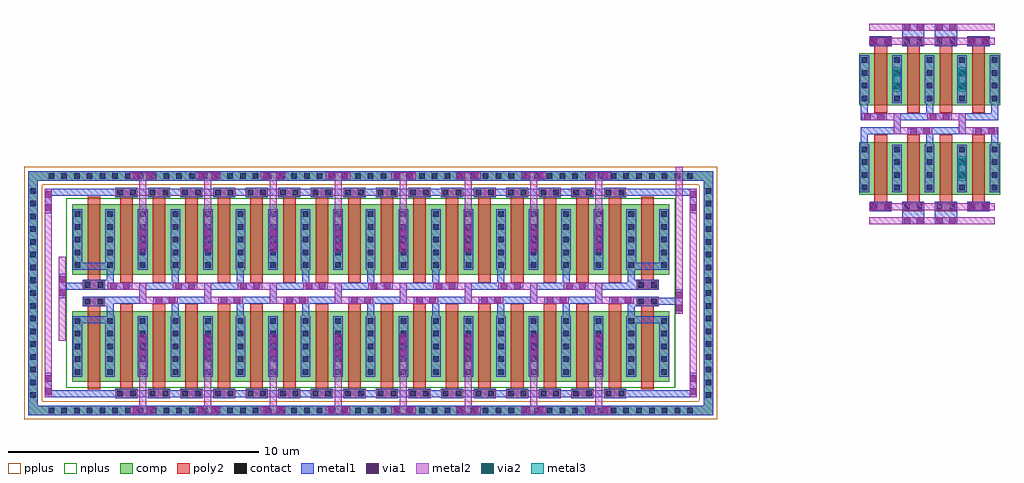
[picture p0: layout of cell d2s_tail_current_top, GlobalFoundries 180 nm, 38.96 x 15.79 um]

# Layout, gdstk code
from math import pi, radians
import gdstk
lib = gdstk.Library(unit=1e-6, precision=5e-09)
def R(c, l, rs):  # rectangles x0, y0, x1, y1
    for r in rs: c.add(gdstk.rectangle(r[:2], r[2:], *l))
def A(c, l, x, y, w, h, nx, ny, dx, dy):  # array of equal rectangles
    R(c, l, [(x+i*dx, y+j*dy, x+i*dx+w, y+j*dy+h) for i in range(nx) for j in range(ny)])
comp = (22, 0)
poly2 = (30, 0)
pplus = (31, 0)
nplus = (32, 0)
contact = (33, 0)
metal1 = (34, 0)
via1 = (35, 0)
metal2 = (36, 0)
via2 = (38, 0)
metal3 = (42, 0)

d2s_tail_current_ncell_1 = lib.new_cell('d2s_tail_current_ncell_1$1$1')
R(d2s_tail_current_ncell_1, comp, [(0,0.3,0.42,3.12), (0.42,0.3,1.3,3.12), (1.3,0.3,1.72,3.12)])
R(d2s_tail_current_ncell_1, poly2, [(0.61,0,1.11,3.42)])
A(d2s_tail_current_ncell_1, contact, 0.1, 0.58, 0.22, 0.22, 1, 5, 0, 0.51)
A(d2s_tail_current_ncell_1, contact, 1.4, 0.58, 0.22, 0.22, 1, 5, 0, 0.51)
R(d2s_tail_current_ncell_1, metal1, [(0.02,0.5,0.4,2.92), (1.32,0.5,1.7,2.92)])

d2s_tail_current_ncell_4 = lib.new_cell('d2s_tail_current_ncell_4$1')
A(d2s_tail_current_ncell_4, poly2, 0.425, 3.42, 0.87, 0.36, 4, 1, 1.3, 0)
R(d2s_tail_current_ncell_4, contact, [(0.495,3.49,0.715,3.71), (1.005,3.49,1.225,3.71), (1.795,3.49,2.015,3.71), (2.305,3.49,2.525,3.71), (3.095,3.49,3.315,3.71), (3.605,3.49,3.825,3.71), (4.395,3.49,4.615,3.71), (4.905,3.49,5.125,3.71)])
A(d2s_tail_current_ncell_4, metal1, 0.415, 3.41, 0.89, 0.38, 4, 1, 1.3, 0)
d2s_tail_current_ncell_4.add(gdstk.Reference(d2s_tail_current_ncell_1, (0,0)))
d2s_tail_current_ncell_4.add(gdstk.Reference(d2s_tail_current_ncell_1, (1.3,0)))
d2s_tail_current_ncell_4.add(gdstk.Reference(d2s_tail_current_ncell_1, (2.6,0)))
d2s_tail_current_ncell_4.add(gdstk.Reference(d2s_tail_current_ncell_1, (3.9,0)))

c_d2s_tail_current_ncell_4 = lib.new_cell('d2s_tail_current_ncell_4_4')
R(c_d2s_tail_current_ncell_4, via1, [(1.12,0.23,1.38,0.49), (1.64,0.23,1.9,0.49), (3.72,0.23,3.98,0.49), (4.24,0.23,4.5,0.49), (1.38,2.52,1.64,2.78), (3.98,2.52,4.24,2.78), (1.38,3.04,1.64,3.3), (3.98,3.04,4.24,3.3), (2.03,4.63,2.29,4.89), (2.55,4.63,2.81,4.89), (4.63,4.63,4.89,4.89), (5.15,4.63,5.41,4.89), (0.21,5.19,0.47,5.45), (0.73,5.19,0.99,5.45), (2.81,5.19,3.07,5.45), (3.33,5.19,3.59,5.45), (1.38,6.78,1.64,7.04), (3.98,6.78,4.24,7.04), (1.38,7.3,1.64,7.56), (3.98,7.3,4.24,7.56), (1.12,9.59,1.38,9.85), (1.64,9.59,1.9,9.85), (3.72,9.59,3.98,9.85), (4.24,9.59,4.5,9.85)])
c_d2s_tail_current_ncell_4.add(gdstk.FlexPath([(1.305,1.02),(5.41,1.02)], 0.28, ends="flush", simple_path=True, layer=34, datatype=0))  # metal1
c_d2s_tail_current_ncell_4.add(gdstk.FlexPath([(2.81,5.96),(2.81,5.46)], 0.28, ends="flush", simple_path=True, layer=34, datatype=0))  # metal1
c_d2s_tail_current_ncell_4.add(gdstk.FlexPath([(0.21,9.72),(5.41,9.72)], 0.38, ends="flush", simple_path=True, layer=34, datatype=0))  # metal1
c_d2s_tail_current_ncell_4.add(gdstk.FlexPath([(2.81,4.12),(2.81,4.62)], 0.28, ends="flush", simple_path=True, layer=34, datatype=0))  # metal1
c_d2s_tail_current_ncell_4.add(gdstk.FlexPath([(0.21,4.12),(0.21,4.62)], 0.28, ends="flush", simple_path=True, layer=34, datatype=0))  # metal1
c_d2s_tail_current_ncell_4.add(gdstk.FlexPath([(0.21,5.96),(0.21,5.46)], 0.28, ends="flush", simple_path=True, layer=34, datatype=0))  # metal1
c_d2s_tail_current_ncell_4.add(gdstk.FlexPath([(2.91,5.32),(1.51,5.32),(1.51,4.76),(0.07,4.76)], 0.28, ends="flush", simple_path=True, layer=34, datatype=0))  # metal1
c_d2s_tail_current_ncell_4.add(gdstk.FlexPath([(1.09,5.32),(0.07,5.32)], 0.28, ends="flush", simple_path=True, layer=34, datatype=0))  # metal1
c_d2s_tail_current_ncell_4.add(gdstk.FlexPath([(5.41,4.12),(5.41,4.62)], 0.28, ends="flush", simple_path=True, layer=34, datatype=0))  # metal1
c_d2s_tail_current_ncell_4.add(gdstk.FlexPath([(5.55,5.32),(4.11,5.32),(4.11,4.76),(2.71,4.76)], 0.28, ends="flush", simple_path=True, layer=34, datatype=0))  # metal1
c_d2s_tail_current_ncell_4.add(gdstk.FlexPath([(3.69,5.32),(2.71,5.32)], 0.28, ends="flush", simple_path=True, layer=34, datatype=0))  # metal1
c_d2s_tail_current_ncell_4.add(gdstk.FlexPath([(5.41,5.96),(5.41,5.46)], 0.28, ends="flush", simple_path=True, layer=34, datatype=0))  # metal1
c_d2s_tail_current_ncell_4.add(gdstk.FlexPath([(2.81,4.12),(2.81,4.62)], 0.28, ends="flush", simple_path=True, layer=34, datatype=0))  # metal1
c_d2s_tail_current_ncell_4.add(gdstk.FlexPath([(5.55,4.76),(4.53,4.76)], 0.28, ends="flush", simple_path=True, layer=34, datatype=0))  # metal1
c_d2s_tail_current_ncell_4.add(gdstk.FlexPath([(2.81,5.96),(2.81,5.46)], 0.28, ends="flush", simple_path=True, layer=34, datatype=0))  # metal1
c_d2s_tail_current_ncell_4.add(gdstk.FlexPath([(2.91,4.76),(1.93,4.76)], 0.28, ends="flush", simple_path=True, layer=34, datatype=0))  # metal1
c_d2s_tail_current_ncell_4.add(gdstk.FlexPath([(1.305,9.06),(5.41,9.06)], 0.28, ends="flush", simple_path=True, layer=34, datatype=0))  # metal1
c_d2s_tail_current_ncell_4.add(gdstk.FlexPath([(0.21,0.36),(5.41,0.36)], 0.38, ends="flush", simple_path=True, layer=34, datatype=0))  # metal1
c_d2s_tail_current_ncell_4.add(gdstk.FlexPath([(0.21,9.72),(5.41,9.72)], 0.38, ends="flush", simple_path=True, layer=22, datatype=0))  # comp
c_d2s_tail_current_ncell_4.add(gdstk.FlexPath([(0.21,0.36),(5.41,0.36)], 0.38, ends="flush", simple_path=True, layer=22, datatype=0))  # comp
c_d2s_tail_current_ncell_4.add(gdstk.FlexPath([(2.91,4.76),(1.51,4.76),(1.51,5.32),(0.11,5.32)], 0.28, ends="flush", simple_path=True, layer=36, datatype=0))  # metal2
c_d2s_tail_current_ncell_4.add(gdstk.FlexPath([(5.51,4.76),(4.11,4.76),(4.11,5.32),(2.71,5.32)], 0.28, ends="flush", simple_path=True, layer=36, datatype=0))  # metal2
c_d2s_tail_current_ncell_4.add(gdstk.FlexPath([(4.11,6.68),(4.11,7.66)], 0.28, ends="flush", simple_path=True, layer=36, datatype=0))  # metal2
c_d2s_tail_current_ncell_4.add(gdstk.FlexPath([(1.51,6.68),(1.51,7.66)], 0.28, ends="flush", simple_path=True, layer=36, datatype=0))  # metal2
c_d2s_tail_current_ncell_4.add(gdstk.FlexPath([(4.11,2.42),(4.11,3.4)], 0.28, ends="flush", simple_path=True, layer=36, datatype=0))  # metal2
c_d2s_tail_current_ncell_4.add(gdstk.FlexPath([(1.51,2.42),(1.51,3.4)], 0.28, ends="flush", simple_path=True, layer=36, datatype=0))  # metal2
c_d2s_tail_current_ncell_4.add(gdstk.FlexPath([(1.02,9.72),(2,9.72)], 0.28, ends="flush", simple_path=True, layer=36, datatype=0))  # metal2
c_d2s_tail_current_ncell_4.add(gdstk.FlexPath([(1.51,7.66),(1.51,9.58)], 0.28, ends="flush", simple_path=True, layer=36, datatype=0))  # metal2
c_d2s_tail_current_ncell_4.add(gdstk.FlexPath([(4.11,7.66),(4.11,9.58)], 0.28, ends="flush", simple_path=True, layer=36, datatype=0))  # metal2
c_d2s_tail_current_ncell_4.add(gdstk.FlexPath([(3.62,9.72),(4.6,9.72)], 0.28, ends="flush", simple_path=True, layer=36, datatype=0))  # metal2
c_d2s_tail_current_ncell_4.add(gdstk.FlexPath([(1.02,0.36),(2,0.36)], 0.28, ends="flush", simple_path=True, layer=36, datatype=0))  # metal2
c_d2s_tail_current_ncell_4.add(gdstk.FlexPath([(1.51,2.42),(1.51,0.5)], 0.28, ends="flush", simple_path=True, layer=36, datatype=0))  # metal2
c_d2s_tail_current_ncell_4.add(gdstk.FlexPath([(4.11,2.42),(4.11,0.5)], 0.28, ends="flush", simple_path=True, layer=36, datatype=0))  # metal2
c_d2s_tail_current_ncell_4.add(gdstk.FlexPath([(3.62,0.36),(4.6,0.36)], 0.28, ends="flush", simple_path=True, layer=36, datatype=0))  # metal2
c_d2s_tail_current_ncell_4.add(gdstk.FlexPath([(0.21,9.72),(5.41,9.72)], 0.72, ends="flush", simple_path=True, layer=31, datatype=0))  # pplus
c_d2s_tail_current_ncell_4.add(gdstk.FlexPath([(0.21,0.36),(5.41,0.36)], 0.72, ends="flush", simple_path=True, layer=31, datatype=0))  # pplus
c_d2s_tail_current_ncell_4.add(gdstk.Reference(d2s_tail_current_ncell_4, (0,5.46)))
c_d2s_tail_current_ncell_4.add(gdstk.Reference(d2s_tail_current_ncell_4, (0,4.62), x_reflection=True))

c_d2s_tail_current_ncell_1 = lib.new_cell('d2s_tail_current_ncell_1')
R(c_d2s_tail_current_ncell_1, comp, [(0,0.3,0.42,3.12), (0.42,0.3,1.3,3.12), (1.3,0.3,1.72,3.12)])
R(c_d2s_tail_current_ncell_1, poly2, [(0.61,0,1.11,3.42)])
A(c_d2s_tail_current_ncell_1, contact, 0.1, 0.58, 0.22, 0.22, 1, 5, 0, 0.51)
A(c_d2s_tail_current_ncell_1, contact, 1.4, 0.58, 0.22, 0.22, 1, 5, 0, 0.51)
R(c_d2s_tail_current_ncell_1, metal1, [(0.02,0.5,0.4,2.92), (1.32,0.5,1.7,2.92)])

m1_m2 = lib.new_cell('M1_M2')
R(m1_m2, via1, [(0.1,0.01,0.36,0.27), (0.62,0.01,0.88,0.27)])
m1_m2.add(gdstk.FlexPath([(0,0.14),(0.98,0.14)], 0.28, ends="flush", simple_path=True, layer=34, datatype=0))  # metal1
m1_m2.add(gdstk.FlexPath([(0,0.14),(0.98,0.14)], 0.28, ends="flush", simple_path=True, layer=36, datatype=0))  # metal2

delay_stage_ncell_1_1_2 = lib.new_cell('delay_stage_ncell_1$1$2')
R(delay_stage_ncell_1_1_2, comp, [(0,0.3,0.42,2.38), (0.42,0.3,1.3,2.38), (1.3,0.3,1.72,2.38)])
R(delay_stage_ncell_1_1_2, poly2, [(0.61,0,1.11,2.68)])
A(delay_stage_ncell_1_1_2, contact, 0.1, 0.465, 0.22, 0.22, 1, 4, 0, 0.51)
A(delay_stage_ncell_1_1_2, contact, 1.4, 0.465, 0.22, 0.22, 1, 4, 0, 0.51)
R(delay_stage_ncell_1_1_2, metal1, [(0.02,0.385,0.4,2.295), (1.32,0.385,1.7,2.295)])

delay_stage_ncell_4_1 = lib.new_cell('delay_stage_ncell_4$1')
A(delay_stage_ncell_4_1, poly2, 0.425, 2.675, 0.87, 0.36, 4, 1, 1.3, 0)
R(delay_stage_ncell_4_1, contact, [(0.495,2.745,0.715,2.965), (1.005,2.745,1.225,2.965), (1.795,2.745,2.015,2.965), (2.305,2.745,2.525,2.965), (3.095,2.745,3.315,2.965), (3.605,2.745,3.825,2.965), (4.395,2.745,4.615,2.965), (4.905,2.745,5.125,2.965)])
A(delay_stage_ncell_4_1, metal1, 0.415, 2.665, 0.89, 0.38, 4, 1, 1.3, 0)
delay_stage_ncell_4_1.add(gdstk.Reference(delay_stage_ncell_1_1_2, (0,-0.005)))
delay_stage_ncell_4_1.add(gdstk.Reference(delay_stage_ncell_1_1_2, (1.3,-0.005)))
delay_stage_ncell_4_1.add(gdstk.Reference(delay_stage_ncell_1_1_2, (2.6,-0.005)))
delay_stage_ncell_4_1.add(gdstk.Reference(delay_stage_ncell_1_1_2, (3.9,-0.005)))

d2s_tail_current_top = lib.new_cell('d2s_tail_current_top')
R(d2s_tail_current_top, poly2, [(1.795,4.53,2.665,4.89), (23.895,4.53,24.765,4.89), (1.795,5.19,2.665,5.55), (23.895,5.19,24.765,5.55)])
R(d2s_tail_current_top, nplus, [(1.13,1.26,25.43,8.82)])
A(d2s_tail_current_top, contact, 0.42, 0.25, 0.22, 0.22, 51, 2, 0.51, 9.36)
A(d2s_tail_current_top, contact, -0.31, 0.85, 0.22, 0.22, 1, 17, 0, 0.51)
A(d2s_tail_current_top, contact, 26.65, 0.85, 0.22, 0.22, 1, 17, 0, 0.51)
R(d2s_tail_current_top, contact, [(1.865,4.6,2.085,4.82), (2.375,4.6,2.595,4.82), (23.965,4.6,24.185,4.82), (24.475,4.6,24.695,4.82), (1.865,5.26,2.085,5.48), (2.375,5.26,2.595,5.48), (23.965,5.26,24.185,5.48), (24.475,5.26,24.695,5.48)])
R(d2s_tail_current_top, metal1, [(1.785,4.52,2.675,4.9), (2.675,4.52,2.74,4.9), (23.82,4.52,23.885,4.9), (23.885,4.52,24.775,4.9), (1.785,5.18,2.675,5.56), (2.675,5.18,2.74,5.56), (23.82,5.18,23.885,5.56), (23.885,5.18,24.775,5.56), (34.495,7.79,35.385,8.3), (35.795,7.79,36.685,8.3), (34.495,15.28,35.385,15.79), (35.795,15.28,36.685,15.79)])
R(d2s_tail_current_top, via1, [(34.55,7.8,34.81,8.06), (35.07,7.8,35.33,8.06), (35.85,7.8,36.11,8.06), (36.37,7.8,36.63,8.06), (33.25,8.36,33.51,8.62), (33.77,8.36,34.03,8.62), (37.15,8.36,37.41,8.62), (37.67,8.36,37.93,8.62), (36.76,9.62,37.02,9.88), (36.76,10.14,37.02,10.4), (34.81,11.38,35.07,11.64), (35.33,11.38,35.59,11.64), (37.41,11.38,37.67,11.64), (37.93,11.38,38.19,11.64), (32.99,11.94,33.25,12.2), (33.51,11.94,33.77,12.2), (35.59,11.94,35.85,12.2), (36.11,11.94,36.37,12.2), (34.16,13.18,34.42,13.44), (36.76,13.18,37.02,13.44), (34.16,13.7,34.42,13.96), (36.76,13.7,37.02,13.96), (33.25,14.96,33.51,15.22), (33.77,14.96,34.03,15.22), (37.15,14.96,37.41,15.22), (37.67,14.96,37.93,15.22), (34.55,15.52,34.81,15.78), (35.07,15.52,35.33,15.78), (35.85,15.52,36.11,15.78), (36.37,15.52,36.63,15.78)])
R(d2s_tail_current_top, via2, [(36.76,9.62,37.02,9.88), (36.76,10.14,37.02,10.4), (34.16,13.18,34.42,13.44), (36.76,13.18,37.02,13.44), (34.16,13.7,34.42,13.96), (36.76,13.7,37.02,13.96)])
d2s_tail_current_top.add(gdstk.FlexPath([(23.68,9.72),(26.76,9.72),(26.76,0.36),(23.68,0.36)], 0.38, ends="flush", simple_path=True, layer=34, datatype=0))  # metal1
d2s_tail_current_top.add(gdstk.FlexPath([(2.88,9.72),(-0.2,9.72),(-0.2,0.36),(2.88,0.36)], 0.38, ends="flush", simple_path=True, layer=34, datatype=0))  # metal1
d2s_tail_current_top.add(gdstk.FlexPath([(13.075,9.06),(13.485,9.06)], 0.28, ends="flush", simple_path=True, layer=34, datatype=0))  # metal1
d2s_tail_current_top.add(gdstk.FlexPath([(13.075,1.02),(13.485,1.02)], 0.28, ends="flush", simple_path=True, layer=34, datatype=0))  # metal1
d2s_tail_current_top.add(gdstk.FlexPath([(24.79,6.1),(23.87,6.1)], 0.28, ends="flush", simple_path=True, layer=34, datatype=0))  # metal1
d2s_tail_current_top.add(gdstk.FlexPath([(24.79,3.98),(23.87,3.98)], 0.28, ends="flush", simple_path=True, layer=34, datatype=0))  # metal1
d2s_tail_current_top.add(gdstk.FlexPath([(1.77,6.1),(2.69,6.1)], 0.28, ends="flush", simple_path=True, layer=34, datatype=0))  # metal1
d2s_tail_current_top.add(gdstk.FlexPath([(1.77,3.98),(2.69,3.98)], 0.28, ends="flush", simple_path=True, layer=34, datatype=0))  # metal1
d2s_tail_current_top.add(gdstk.FlexPath([(1.785,5.32),(1.11,5.32)], 0.28, ends="flush", simple_path=True, layer=34, datatype=0))  # metal1
d2s_tail_current_top.add(gdstk.FlexPath([(23.475,9.06),(26.29,9.06)], 0.28, ends="flush", simple_path=True, layer=34, datatype=0))  # metal1
d2s_tail_current_top.add(gdstk.FlexPath([(35.59,12.615),(35.59,12.21)], 0.28, ends="flush", simple_path=True, layer=34, datatype=0))  # metal1
d2s_tail_current_top.add(gdstk.FlexPath([(35.59,10.965),(35.59,11.37)], 0.28, ends="flush", simple_path=True, layer=34, datatype=0))  # metal1
d2s_tail_current_top.add(gdstk.FlexPath([(32.99,10.965),(32.99,11.37)], 0.28, ends="flush", simple_path=True, layer=34, datatype=0))  # metal1
d2s_tail_current_top.add(gdstk.FlexPath([(32.99,12.615),(32.99,12.21)], 0.28, ends="flush", simple_path=True, layer=34, datatype=0))  # metal1
d2s_tail_current_top.add(gdstk.FlexPath([(35.69,12.07),(34.29,12.07),(34.29,11.51),(32.85,11.51)], 0.28, ends="flush", simple_path=True, layer=34, datatype=0))  # metal1
d2s_tail_current_top.add(gdstk.FlexPath([(33.87,12.07),(32.85,12.07)], 0.28, ends="flush", simple_path=True, layer=34, datatype=0))  # metal1
d2s_tail_current_top.add(gdstk.FlexPath([(38.19,10.965),(38.19,11.37)], 0.28, ends="flush", simple_path=True, layer=34, datatype=0))  # metal1
d2s_tail_current_top.add(gdstk.FlexPath([(38.33,12.07),(36.89,12.07),(36.89,11.51),(35.49,11.51)], 0.28, ends="flush", simple_path=True, layer=34, datatype=0))  # metal1
d2s_tail_current_top.add(gdstk.FlexPath([(36.47,12.07),(35.49,12.07)], 0.28, ends="flush", simple_path=True, layer=34, datatype=0))  # metal1
d2s_tail_current_top.add(gdstk.FlexPath([(38.19,12.615),(38.19,12.21)], 0.28, ends="flush", simple_path=True, layer=34, datatype=0))  # metal1
d2s_tail_current_top.add(gdstk.FlexPath([(35.59,10.965),(35.59,11.37)], 0.28, ends="flush", simple_path=True, layer=34, datatype=0))  # metal1
d2s_tail_current_top.add(gdstk.FlexPath([(38.33,11.51),(37.31,11.51)], 0.28, ends="flush", simple_path=True, layer=34, datatype=0))  # metal1
d2s_tail_current_top.add(gdstk.FlexPath([(35.59,12.615),(35.59,12.21)], 0.28, ends="flush", simple_path=True, layer=34, datatype=0))  # metal1
d2s_tail_current_top.add(gdstk.FlexPath([(35.69,11.51),(34.71,11.51)], 0.28, ends="flush", simple_path=True, layer=34, datatype=0))  # metal1
d2s_tail_current_top.add(gdstk.FlexPath([(23.475,1.02),(26.29,1.02)], 0.28, ends="flush", simple_path=True, layer=34, datatype=0))  # metal1
d2s_tail_current_top.add(gdstk.FlexPath([(3.085,1.02),(0.27,1.02)], 0.28, ends="flush", simple_path=True, layer=34, datatype=0))  # metal1
d2s_tail_current_top.add(gdstk.FlexPath([(3.085,9.06),(0.27,9.06)], 0.28, ends="flush", simple_path=True, layer=34, datatype=0))  # metal1
d2s_tail_current_top.add(gdstk.FlexPath([(24.775,4.71),(25.45,4.71)], 0.28, ends="flush", simple_path=True, layer=34, datatype=0))  # metal1
d2s_tail_current_top.add(gdstk.FlexPath([(23.68,9.72),(26.76,9.72),(26.76,0.36),(23.68,0.36)], 0.38, ends="flush", simple_path=True, layer=22, datatype=0))  # comp
d2s_tail_current_top.add(gdstk.FlexPath([(2.88,9.72),(-0.2,9.72),(-0.2,0.36),(2.88,0.36)], 0.38, ends="flush", simple_path=True, layer=22, datatype=0))  # comp
d2s_tail_current_top.add(gdstk.FlexPath([(25.59,10.08),(25.59,4.22)], 0.28, ends="flush", simple_path=True, layer=36, datatype=0))  # metal2
d2s_tail_current_top.add(gdstk.FlexPath([(0.97,6.48),(0.97,3.13)], 0.28, ends="flush", simple_path=True, layer=36, datatype=0))  # metal2
d2s_tail_current_top.add(gdstk.FlexPath([(26.15,9.2),(26.15,0.88)], 0.28, ends="flush", simple_path=True, layer=36, datatype=0))  # metal2
d2s_tail_current_top.add(gdstk.FlexPath([(38.19,15.09),(33.185,15.09)], 0.28, ends="flush", simple_path=True, layer=36, datatype=0))  # metal2
d2s_tail_current_top.add(gdstk.FlexPath([(38.19,15.65),(33.185,15.65)], 0.28, ends="flush", simple_path=True, layer=36, datatype=0))  # metal2
d2s_tail_current_top.add(gdstk.FlexPath([(38.19,8.49),(33.185,8.49)], 0.28, ends="flush", simple_path=True, layer=36, datatype=0))  # metal2
d2s_tail_current_top.add(gdstk.FlexPath([(38.19,7.93),(33.185,7.93)], 0.28, ends="flush", simple_path=True, layer=36, datatype=0))  # metal2
d2s_tail_current_top.add(gdstk.FlexPath([(36.89,13.08),(36.89,14.06)], 0.28, ends="flush", simple_path=True, layer=36, datatype=0))  # metal2
d2s_tail_current_top.add(gdstk.FlexPath([(34.29,13.08),(34.29,14.06)], 0.28, ends="flush", simple_path=True, layer=36, datatype=0))  # metal2
d2s_tail_current_top.add(gdstk.FlexPath([(36.89,9.52),(36.89,10.5)], 0.28, ends="flush", simple_path=True, layer=36, datatype=0))  # metal2
d2s_tail_current_top.add(gdstk.FlexPath([(0.41,9.2),(0.41,0.88)], 0.28, ends="flush", simple_path=True, layer=36, datatype=0))  # metal2
d2s_tail_current_top.add(gdstk.FlexPath([(35.69,11.51),(34.29,11.51),(34.29,12.07),(32.89,12.07)], 0.28, ends="flush", simple_path=True, layer=36, datatype=0))  # metal2
d2s_tail_current_top.add(gdstk.FlexPath([(38.29,11.51),(36.89,11.51),(36.89,12.07),(35.49,12.07)], 0.28, ends="flush", simple_path=True, layer=36, datatype=0))  # metal2
d2s_tail_current_top.add(gdstk.FlexPath([(23.68,9.72),(26.76,9.72),(26.76,0.36),(23.68,0.36)], 0.72, ends="flush", simple_path=True, layer=31, datatype=0))  # pplus
d2s_tail_current_top.add(gdstk.FlexPath([(2.88,9.72),(-0.2,9.72),(-0.2,0.36),(2.88,0.36)], 0.72, ends="flush", simple_path=True, layer=31, datatype=0))  # pplus
d2s_tail_current_top.add(gdstk.FlexPath([(36.89,13.08),(36.89,14.06)], 0.28, ends="flush", simple_path=True, layer=42, datatype=0))  # metal3
d2s_tail_current_top.add(gdstk.FlexPath([(34.29,13.08),(34.29,14.06)], 0.28, ends="flush", simple_path=True, layer=42, datatype=0))  # metal3
d2s_tail_current_top.add(gdstk.FlexPath([(36.89,9.52),(36.89,10.5)], 0.28, ends="flush", simple_path=True, layer=42, datatype=0))  # metal3
d2s_tail_current_top.add(gdstk.Reference(c_d2s_tail_current_ncell_4, (13.49,10.08), rotation=pi))
d2s_tail_current_top.add(gdstk.Reference(c_d2s_tail_current_ncell_1, (23.47,5.46)))
d2s_tail_current_top.add(gdstk.Reference(c_d2s_tail_current_ncell_1, (23.47,1.2)))
d2s_tail_current_top.add(gdstk.Reference(c_d2s_tail_current_ncell_1, (3.09,5.46), rotation=pi, x_reflection=True))
d2s_tail_current_top.add(gdstk.Reference(c_d2s_tail_current_ncell_1, (3.09,1.2), rotation=pi, x_reflection=True))
d2s_tail_current_top.add(gdstk.Reference(c_d2s_tail_current_ncell_4, (23.89,10.08), rotation=pi))
d2s_tail_current_top.add(gdstk.Reference(c_d2s_tail_current_ncell_4, (13.07,0)))
d2s_tail_current_top.add(gdstk.Reference(c_d2s_tail_current_ncell_4, (2.67,0)))
d2s_tail_current_top.add(gdstk.Reference(m1_m2, (26.29,8.22), rotation=pi/2))
d2s_tail_current_top.add(gdstk.Reference(delay_stage_ncell_4_1, (32.78,12.235)))
d2s_tail_current_top.add(gdstk.Reference(delay_stage_ncell_4_1, (32.78,11.345), x_reflection=True))
d2s_tail_current_top.add(gdstk.Reference(m1_m2, (26.29,1.86), rotation=3*pi/2, x_reflection=True))
d2s_tail_current_top.add(gdstk.Reference(m1_m2, (0.27,1.86), rotation=3*pi/2))
d2s_tail_current_top.add(gdstk.Reference(m1_m2, (0.27,8.22), rotation=pi/2, x_reflection=True))
d2s_tail_current_top.add(gdstk.Reference(m1_m2, (0.83,4.83), rotation=pi/2, x_reflection=True))
d2s_tail_current_top.add(gdstk.Reference(m1_m2, (25.73,4.22), rotation=pi/2))

lib.write_gds('d2s_tail_current_top.gds')
